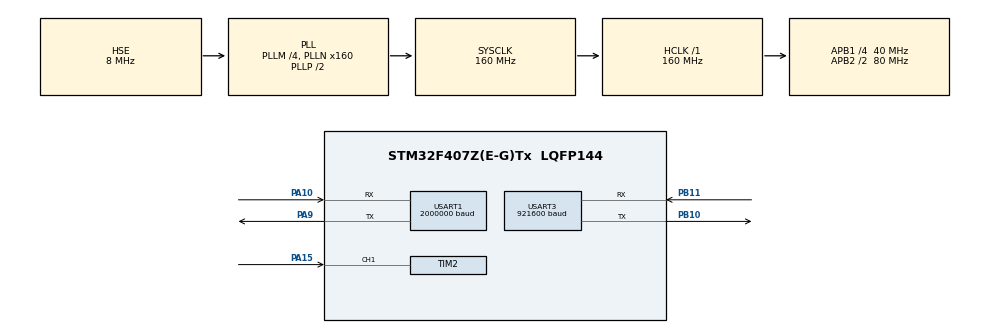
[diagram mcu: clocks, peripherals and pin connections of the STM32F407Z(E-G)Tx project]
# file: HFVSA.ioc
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Mcu.Family=STM32F4
Mcu.Name=STM32F407Z(E-G)Tx
Mcu.Package=LQFP144
NVIC.PriorityGroup=NVIC_PRIORITYGROUP_4
NVIC.TIM2_IRQn=true\:0\:0\:false\:false\:true\:true\:true\:true
NVIC.TIM4_IRQn=true\:0\:0\:false\:false\:true\:true\:true\:true
NVIC.USART3_IRQn=true\:0\:0\:false\:false\:true\:true\:true\:true
PA10.Mode=Asynchronous
PA10.Signal=USART1_RX
PA15.Signal=S_TIM2_CH1_ETR
PA9.Mode=Asynchronous
PA9.Signal=USART1_TX
PB10.Mode=Asynchronous
PB10.Signal=USART3_TX
PB11.Mode=Asynchronous
PB11.Signal=USART3_RX
PH0-OSC_IN.Mode=HSE-External-Oscillator
PH0-OSC_IN.Signal=RCC_OSC_IN
PH1-OSC_OUT.Mode=HSE-External-Oscillator
PH1-OSC_OUT.Signal=RCC_OSC_OUT
ProjectManager.HeapSize=0x200
ProjectManager.StackSize=0x400
ProjectManager.TargetToolchain=MDK-ARM V5.32
RCC.48MHZClocksFreq_Value=80000000
RCC.AHBFreq_Value=160000000
RCC.APB1CLKDivider=RCC_HCLK_DIV4
RCC.APB1Freq_Value=40000000
RCC.APB1TimFreq_Value=80000000
RCC.APB2CLKDivider=RCC_HCLK_DIV2
RCC.APB2Freq_Value=80000000
RCC.APB2TimFreq_Value=160000000
RCC.CortexFreq_Value=160000000
RCC.HCLKFreq_Value=160000000
RCC.HSE_VALUE=8000000
RCC.HSI_VALUE=16000000
RCC.LSE_VALUE=32768
RCC.PLLM=4
RCC.PLLN=160
RCC.PLLSourceVirtual=RCC_PLLSOURCE_HSE
RCC.SYSCLKFreq_VALUE=160000000
RCC.SYSCLKSource=RCC_SYSCLKSOURCE_PLLCLK
RCC.VCOOutputFreq_Value=320000000
SH.S_TIM2_CH1_ETR.0=TIM2_CH1,Input_Capture1_from_TI1
TIM2.Channel-Input_Capture1_from_TI1=TIM_CHANNEL_1
TIM2.Prescaler=80-1
TIM4.AutoReloadPreload=TIM_AUTORELOAD_PRELOAD_ENABLE
TIM4.Period=20-1
TIM4.Prescaler=8000-1
USART1.BaudRate=2000000
USART1.VirtualMode=VM_ASYNC
USART3.BaudRate=921600
USART3.VirtualMode=VM_ASYNC
VP_TIM4_VS_ClockSourceINT.Mode=Internal
board=custom

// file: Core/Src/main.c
/* USER CODE BEGIN Header */
/**
  ******************************************************************************
  * @file           : main.c
  * @brief          : Main program body
  ******************************************************************************
  * @attention
  *
  * Copyright (c) 2024 STMicroelectronics.
  * All rights reserved.
  *
  * This software is licensed under terms that can be found in the LICENSE file
  * in the root directory of this software component.
  * If no LICENSE file comes with this software, it is provided AS-IS.
  *
  ******************************************************************************
  */
/* USER CODE END Header */
#include "main.h"
#include "tim.h"
#include "usart.h"
#include "gpio.h"

/* USER CODE BEGIN Includes */
#include "my_spdlog.h"
#include "my_motor_bd.h"

/* USER CODE END Includes */

/* USER CODE BEGIN PV */

volatile uint8_t timer4_flag = 0;

float AS5048_angle;
float AS5048_angle_zero = 0;

/* USER CODE END PV */

void SystemClock_Config(void);

int main(void)
{

  /* MCU Configuration--------------------------------------------------------*/

  /* Reset of all peripherals, Initializes the Flash interface and the Systick. */
  HAL_Init();

  /* Configure the system clock */
  SystemClock_Config();

  /* Initialize all configured peripherals */
  MX_GPIO_Init();
  MX_USART1_UART_Init();
  MX_USART3_UART_Init();
  MX_TIM4_Init();
  MX_TIM2_Init();
  /* USER CODE BEGIN 2 */

  // uint8_t reasponse_start[17];
	// HAL_UART_Receive(&huart3, reasponse_start, 17, 100);  // 清空电机先发回来的 17 个字节

  motorEnable();

	HAL_TIM_Base_Start_IT(&htim4);   // 使能定时器 4 中断，用于位置控制

	HAL_TIM_IC_Start_IT(&htim2, TIM_CHANNEL_1);  // 使能定时器 2 的通道 1 输入捕获通道中断，用于捕获 PWM 信号，计算频率和占空比

  HAL_Delay(300);  // 等待 5048 归零

  /* USER CODE END 2 */

  /* Infinite loop */
  /* USER CODE BEGIN WHILE */
  while (1)
  {
    Sine_Wave_Test(5);
    // motorEnable();
    // HAL_Delay(100);
    // motorDisable();
    // HAL_Delay(100);

    // positionControl(3.0);
    // HAL_Delay(100);
    // positionControl(-3.0);
    // HAL_Delay(100);

    /* USER CODE END WHILE */

  }
}

void SystemClock_Config(void)
{
  RCC_OscInitTypeDef RCC_OscInitStruct = {0};
  RCC_ClkInitTypeDef RCC_ClkInitStruct = {0};

  /** Configure the main internal regulator output voltage
  */
  __HAL_RCC_PWR_CLK_ENABLE();
  __HAL_PWR_VOLTAGESCALING_CONFIG(PWR_REGULATOR_VOLTAGE_SCALE1);

  /** Initializes the RCC Oscillators according to the specified parameters
  * in the RCC_OscInitTypeDef structure.
  */
  RCC_OscInitStruct.OscillatorType = RCC_OSCILLATORTYPE_HSE;
  RCC_OscInitStruct.HSEState = RCC_HSE_ON;
  RCC_OscInitStruct.PLL.PLLState = RCC_PLL_ON;
  RCC_OscInitStruct.PLL.PLLSource = RCC_PLLSOURCE_HSE;
  RCC_OscInitStruct.PLL.PLLM = 4;
  RCC_OscInitStruct.PLL.PLLN = 160;
  RCC_OscInitStruct.PLL.PLLP = RCC_PLLP_DIV2;
  RCC_OscInitStruct.PLL.PLLQ = 4;
  if (HAL_RCC_OscConfig(&RCC_OscInitStruct) != HAL_OK)
  {
    Error_Handler();
  }

  /** Initializes the CPU, AHB and APB buses clocks
  */
  RCC_ClkInitStruct.ClockType = RCC_CLOCKTYPE_HCLK|RCC_CLOCKTYPE_SYSCLK
                              |RCC_CLOCKTYPE_PCLK1|RCC_CLOCKTYPE_PCLK2;
  RCC_ClkInitStruct.SYSCLKSource = RCC_SYSCLKSOURCE_PLLCLK;
  RCC_ClkInitStruct.AHBCLKDivider = RCC_SYSCLK_DIV1;
  RCC_ClkInitStruct.APB1CLKDivider = RCC_HCLK_DIV4;
  RCC_ClkInitStruct.APB2CLKDivider = RCC_HCLK_DIV2;

  if (HAL_RCC_ClockConfig(&RCC_ClkInitStruct, FLASH_LATENCY_5) != HAL_OK)
  {
    Error_Handler();
  }
}

/* USER CODE BEGIN 4 */

void HAL_TIM_PeriodElapsedCallback(TIM_HandleTypeDef *htim)
{
	if(htim==&htim4)
	{
		timer4_flag = 1;
//		user_spdlog_debug("enter timer4");
	}
}

void HAL_TIM_IC_CaptureCallback(TIM_HandleTypeDef *htim) {
    if (htim == &htim2) {
        // !一些 PWM 涉及的变量，下面 5 个 static 去掉的话，AS5048_angle 就会计算的很奇怪，不知道为什么
        static uint32_t total_count;         // 一个 PWM 周期内的总计数
        static uint32_t high_count;          // 一个 PWM 周期内的高电平计数
        static uint32_t low_count;           // 一个 PWM 周期内的低电平计数
        static float duty_circle;            // 占空比
        static float frequency;              // 频率
        static uint8_t risingEdgeFlag = 0;   // 上升沿标志位
        static uint8_t fallingEdgeFlag = 0;  // 下降沿标志位

        // 根据电平信号，获取计算 PWM 要用的数据
        if (HAL_GPIO_ReadPin(GPIOA, GPIO_PIN_15) == 1) {                                             // 上升沿
            risingEdgeFlag = 1;                                                                      // 上升沿标志位置 1
            low_count = HAL_TIM_ReadCapturedValue(&htim2, TIM_CHANNEL_1);                            // 读取低电平计数值
            __HAL_TIM_SET_COUNTER(&htim2, 0);                                                        // 定时器 4 计数器清零
            __HAL_TIM_SET_CAPTUREPOLARITY(&htim2, TIM_CHANNEL_1, TIM_INPUTCHANNELPOLARITY_FALLING);  // 设置下降沿捕获
        }

        if (HAL_GPIO_ReadPin(GPIOA, GPIO_PIN_15) == 0) {                                            // 下降沿
            fallingEdgeFlag = 1;                                                                    // 下降沿标志位置 1
            high_count = HAL_TIM_ReadCapturedValue(&htim2, TIM_CHANNEL_1);                          // 读取高电平计数值
            __HAL_TIM_SET_COUNTER(&htim2, 0);                                                       // 定时器 4 计数器清零
            __HAL_TIM_SET_CAPTUREPOLARITY(&htim2, TIM_CHANNEL_1, TIM_INPUTCHANNELPOLARITY_RISING);  // 设置上升沿捕获
        }
        if (risingEdgeFlag == 1 && fallingEdgeFlag == 1) {
            // 一次 PWM 信号完成，计算相关数据
            total_count = high_count + low_count;  // 计算一个 PWM 周期内的总计数
            duty_circle = (float)high_count / (high_count + low_count);
            // duty_circle = (high_count * 1.0) / (total_count * 1.0);  // 加上这行竟然就卡了？
            risingEdgeFlag = 0;
            fallingEdgeFlag = 0;

            // // static float last_AS5048_angle = AS5048_angle;

            // 计数，用来输出一些信息
            static uint32_t cnt = 0;
            cnt++;

            // 给 5048 归零
            if (cnt < 200)
            {
              AS5048_angle = duty_circle * 360 - 271;
              AS5048_angle_zero = AS5048_angle;
            } else {
              AS5048_angle =duty_circle * 360 - 271 - AS5048_angle_zero;
            }

						// AS5048_angle = 0;

            // if (cnt % 100 == 0) {
            //     //                user_spdlog_trace("total_count=%d", total_count);
            //     //                user_spdlog_trace("high_count=%d", high_count);
            //     //                user_spdlog_trace("duty_circle=%.3f", duty_circle);
            //     //                user_spdlog_trace("frequency=%.3f", frequency);
            //     // user_spdlog_info("AS5048_angle=%.3f", AS5048_angle);
            // }
        }
    }
}

/* USER CODE END 4 */

void Error_Handler(void)
{
  __disable_irq();
  while (1)
  {
  }
}
